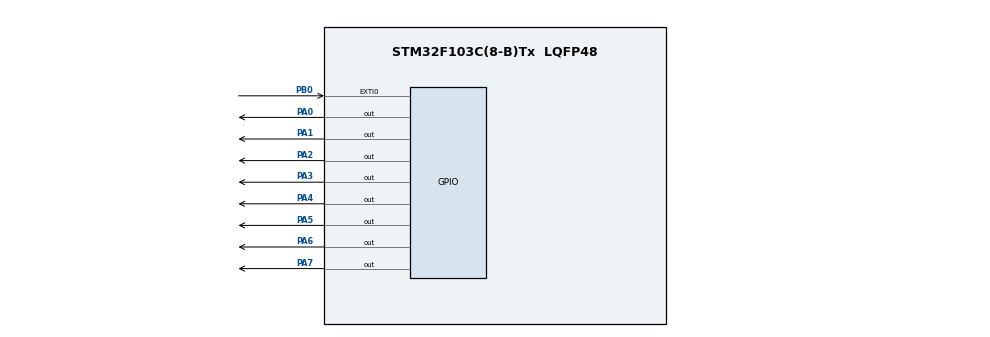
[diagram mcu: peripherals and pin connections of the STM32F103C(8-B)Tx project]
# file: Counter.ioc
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Mcu.Family=STM32F1
Mcu.Name=STM32F103C(8-B)Tx
Mcu.Package=LQFP48
NVIC.EXTI0_IRQn=true\:0\:0\:false\:false\:true\:true\:true\:true
NVIC.PriorityGroup=NVIC_PRIORITYGROUP_4
PA0-WKUP.Signal=GPIO_Output
PA1.Signal=GPIO_Output
PA2.Signal=GPIO_Output
PA3.Signal=GPIO_Output
PA4.Signal=GPIO_Output
PA5.Signal=GPIO_Output
PA6.Signal=GPIO_Output
PA7.Signal=GPIO_Output
PB0.GPIO_PuPd=GPIO_PULLDOWN
PB0.Signal=GPXTI0
ProjectManager.HeapSize=0x200
ProjectManager.StackSize=0x400
ProjectManager.TargetToolchain=STM32CubeIDE
RCC.APB1Freq_Value=8000000
RCC.APB2Freq_Value=8000000
board=custom

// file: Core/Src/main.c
/* USER CODE BEGIN Header */
/**
  ******************************************************************************
  * @file           : main.c
  * @brief          : Main program body
  ******************************************************************************
  * @attention
  *
  * Copyright (c) 2026 STMicroelectronics.
  * All rights reserved.
  *
  * This software is licensed under terms that can be found in the LICENSE file
  * in the root directory of this software component.
  * If no LICENSE file comes with this software, it is provided AS-IS.
  *
  ******************************************************************************
  */
/* USER CODE END Header */
#include "main.h"

/* USER CODE BEGIN Includes */
uint8_t counter = 0;
uint8_t debounce = 0;
uint32_t lastTick= 0;
/* USER CODE END Includes */

/* USER CODE BEGIN PTD */
typedef struct{
	GPIO_TypeDef * port;
	 uint16_t num;
}pin;
/* USER CODE END PTD */

void SystemClock_Config(void);
static void MX_GPIO_Init(void);
/* USER CODE BEGIN PFP */
void writeReg(pin* pins,uint8_t size, uint8_t value);
/* USER CODE END PFP */

int main(void)
{

  /* MCU Configuration--------------------------------------------------------*/

  /* Reset of all peripherals, Initializes the Flash interface and the Systick. */
  HAL_Init();

  /* USER CODE BEGIN Init */
  pin pins[8];
	for(int i =0;i<8;i++)
	{
	   pins[i].port = GPIOA;
	   pins[i].num = pow(2,i);
	}

  /* USER CODE END Init */

  /* Configure the system clock */
  SystemClock_Config();

  /* Initialize all configured peripherals */
  MX_GPIO_Init();

  /* Infinite loop */
  /* USER CODE BEGIN WHILE */
  while (1)
  {
	  if(HAL_GetTick() - lastTick >=30)
	  {
		  debounce = 0;
	  }
	  writeReg(pins,8,counter);
	  HAL_Delay(500);
	  writeReg(pins,8,0);
	  HAL_Delay(500);
  /* USER CODE END WHILE */

  }
}

void SystemClock_Config(void)
{
  RCC_OscInitTypeDef RCC_OscInitStruct = {0};
  RCC_ClkInitTypeDef RCC_ClkInitStruct = {0};

  /** Initializes the RCC Oscillators according to the specified parameters
  * in the RCC_OscInitTypeDef structure.
  */
  RCC_OscInitStruct.OscillatorType = RCC_OSCILLATORTYPE_HSI;
  RCC_OscInitStruct.HSIState = RCC_HSI_ON;
  RCC_OscInitStruct.HSICalibrationValue = RCC_HSICALIBRATION_DEFAULT;
  RCC_OscInitStruct.PLL.PLLState = RCC_PLL_NONE;
  if (HAL_RCC_OscConfig(&RCC_OscInitStruct) != HAL_OK)
  {
    Error_Handler();
  }

  /** Initializes the CPU, AHB and APB buses clocks
  */
  RCC_ClkInitStruct.ClockType = RCC_CLOCKTYPE_HCLK|RCC_CLOCKTYPE_SYSCLK
                              |RCC_CLOCKTYPE_PCLK1|RCC_CLOCKTYPE_PCLK2;
  RCC_ClkInitStruct.SYSCLKSource = RCC_SYSCLKSOURCE_HSI;
  RCC_ClkInitStruct.AHBCLKDivider = RCC_SYSCLK_DIV1;
  RCC_ClkInitStruct.APB1CLKDivider = RCC_HCLK_DIV1;
  RCC_ClkInitStruct.APB2CLKDivider = RCC_HCLK_DIV1;

  if (HAL_RCC_ClockConfig(&RCC_ClkInitStruct, FLASH_LATENCY_0) != HAL_OK)
  {
    Error_Handler();
  }
}

static void MX_GPIO_Init(void)
{
  GPIO_InitTypeDef GPIO_InitStruct = {0};

  /* GPIO Ports Clock Enable */
  __HAL_RCC_GPIOA_CLK_ENABLE();
  __HAL_RCC_GPIOB_CLK_ENABLE();

  /*Configure GPIO pin Output Level */
  HAL_GPIO_WritePin(GPIOA, GPIO_PIN_0|GPIO_PIN_1|GPIO_PIN_2|GPIO_PIN_3
                          |GPIO_PIN_4|GPIO_PIN_5|GPIO_PIN_6|GPIO_PIN_7, GPIO_PIN_RESET);

  /*Configure GPIO pins : PA0 PA1 PA2 PA3
                           PA4 PA5 PA6 PA7 */
  GPIO_InitStruct.Pin = GPIO_PIN_0|GPIO_PIN_1|GPIO_PIN_2|GPIO_PIN_3
                          |GPIO_PIN_4|GPIO_PIN_5|GPIO_PIN_6|GPIO_PIN_7;
  GPIO_InitStruct.Mode = GPIO_MODE_OUTPUT_PP;
  GPIO_InitStruct.Pull = GPIO_NOPULL;
  GPIO_InitStruct.Speed = GPIO_SPEED_FREQ_LOW;
  HAL_GPIO_Init(GPIOA, &GPIO_InitStruct);

  /*Configure GPIO pin : PB0 */
  GPIO_InitStruct.Pin = GPIO_PIN_0;
  GPIO_InitStruct.Mode = GPIO_MODE_IT_RISING;
  GPIO_InitStruct.Pull = GPIO_PULLDOWN;
  HAL_GPIO_Init(GPIOB, &GPIO_InitStruct);

  /* EXTI interrupt init*/
  HAL_NVIC_SetPriority(EXTI0_IRQn, 0, 0);
  HAL_NVIC_EnableIRQ(EXTI0_IRQn);

}

/* USER CODE BEGIN 4 */

void HAL_GPIO_EXTI_Callback(uint16_t GPIO_Pin)
{
	if(GPIO_Pin == GPIO_PIN_0)
	{
		counter= (counter == 0)? 1: counter << 1;
		lastTick = HAL_GetTick();
		debounce = 1;
	}
}

void writeReg(pin* pins,uint8_t size, uint8_t value)
{
	for(int i = 0;i<size;i++)
	{
		uint8_t bitState = (value >> i) & 0x01;
		HAL_GPIO_WritePin( pins[i].port, pins[i].num, bitState);
	}
}
/* USER CODE END 4 */

void Error_Handler(void)
{
  __disable_irq();
  while (1)
  {
  }
}
